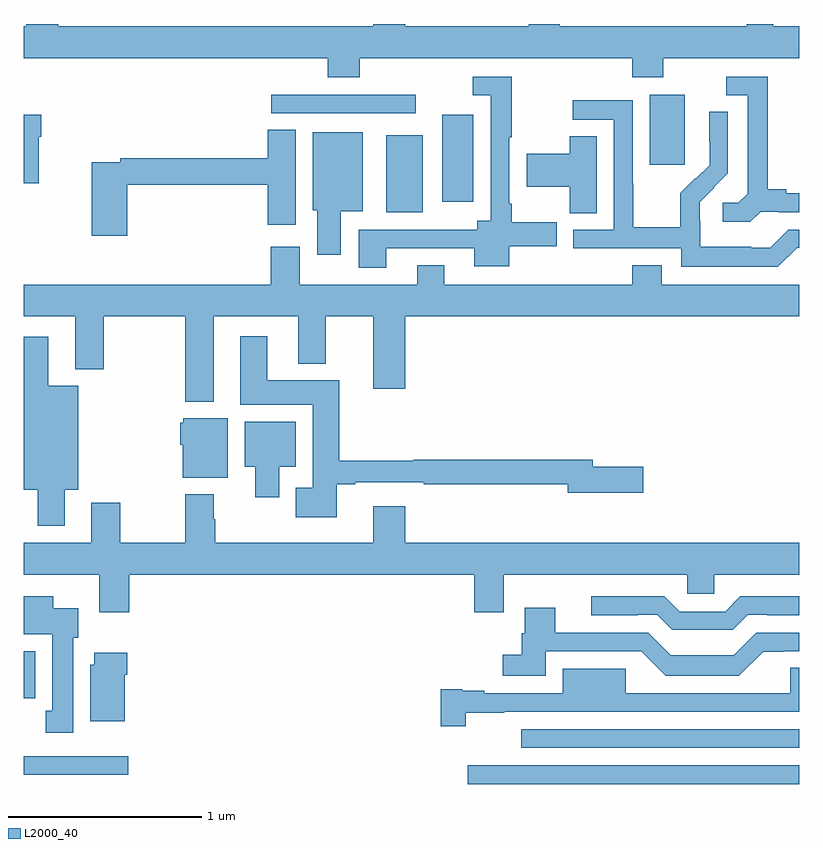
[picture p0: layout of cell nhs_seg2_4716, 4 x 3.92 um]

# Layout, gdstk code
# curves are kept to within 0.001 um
import gdstk
lib = gdstk.Library(unit=1e-6, precision=1e-09)
def R(c, l, rs):  # rectangles x0, y0, x1, y1
    for r in rs: c.add(gdstk.rectangle(r[:2], r[2:], *l))
def P(c, l, *ps):  # polygons
    for p in ps: c.add(gdstk.Polygon(p, *l))
L2000_40 = (2000, 40)

nhs_seg2_4716 = lib.new_cell('nhs_seg2_4716')
R(nhs_seg2_4716, L2000_40, [(369.291,655.881,371,655.977), (367,655.928,367.54,656.025), (369.567,656.067,371,656.163), (367,656.324,367.06,656.566), (368.87,658.829,369.058,659.227), (369.158,658.884,369.319,659.332), (370.229,659.073,370.408,659.434), (368.277,659.34,369.022,659.436)])
P(nhs_seg2_4716, L2000_40, [(368.732,659.624),(370.139,659.624),(370.139,659.525),(370.299,659.525),(370.299,659.624),(371,659.624),(371,659.788),(370.866,659.788),(370.866,659.8),(370.728,659.8),(370.728,659.788),(369.765,659.788),(369.765,659.8),(369.605,659.8),(369.605,659.788),(368.968,659.788),(368.968,659.8),(368.804,659.8),(368.804,659.788),(367.178,659.788),(367.178,659.8),(367.013,659.8),(367.013,659.788),(367,659.788),(367,659.624),(368.567,659.624),(368.567,659.525),(368.732,659.525)],
  [(368.869,658.644),(369.323,658.644),(369.323,658.55),(369.505,658.55),(369.505,658.655),(369.75,658.655),(369.75,658.777),(369.517,658.777),(369.517,658.873),(369.504,658.873),(369.504,659.215),(369.517,659.215),(369.517,659.529),(369.315,659.529),(369.315,659.433),(369.408,659.433),(369.408,658.786),(369.338,658.786),(369.338,658.74),(368.729,658.74),(368.729,658.542),(368.869,658.542)],
  [(370.8,658.833),(370.894,658.833),(370.894,658.83),(371,658.83),(371,658.926),(370.933,658.926),(370.933,658.949),(370.837,658.949),(370.837,659.529),(370.623,659.529),(370.623,659.433),(370.733,659.433),(370.733,658.925),(370.686,658.878),(370.605,658.878),(370.605,658.781),(370.748,658.781)],
  [(370.989,658.647),(371,658.647),(371,658.74),(370.944,658.74),(370.851,658.647),(370.751,658.647),(370.751,658.651),(370.488,658.651),(370.488,658.785),(370.486,658.785),(370.486,658.882),(370.632,659.03),(370.632,659.348),(370.536,659.348),(370.536,659.194),(370.538,659.194),(370.538,659.072),(370.467,659.001),(370.464,659.004),(370.387,658.927),(370.387,658.753),(370.143,658.753),(370.143,658.976),(370.14,658.976),(370.14,659.406),(369.831,659.406),(369.831,659.307),(370.044,659.307),(370.044,658.74),(369.835,658.74),(369.835,658.644),(370.392,658.644),(370.392,658.547),(370.889,658.547)],
  [(367.078,659.219),(367.091,659.219),(367.091,659.332),(367,659.332),(367,658.979),(367.078,658.979)],
  [(367.535,658.972),(368.258,658.972),(368.258,658.764),(368.404,658.764),(368.404,659.255),(368.258,659.255),(368.258,659.108),(367.498,659.108),(367.498,659.088),(367.352,659.088),(367.352,658.707),(367.535,658.707)],
  [(368.635,658.835),(368.749,658.835),(368.749,659.242),(368.492,659.242),(368.492,658.839),(368.513,658.839),(368.513,658.611),(368.635,658.611)],
  [(369.955,659.222),(369.817,659.222),(369.817,659.132),(369.594,659.132),(369.594,658.961),(369.817,658.961),(369.817,658.825),(369.955,658.825)],
  [(367.981,658.292),(368.417,658.292),(368.417,658.049),(368.557,658.049),(368.557,658.292),(368.804,658.292),(368.804,657.918),(368.968,657.918),(368.968,658.292),(371,658.292),(371,658.456),(370.291,658.456),(370.291,658.555),(370.139,658.555),(370.139,658.456),(369.169,658.456),(369.169,658.555),(369.029,658.555),(369.029,658.456),(368.425,658.456),(368.425,658.651),(368.273,658.651),(368.273,658.456),(367,658.456),(367,658.292),(367.265,658.292),(367.265,658.019),(367.413,658.019),(367.413,658.292),(367.834,658.292),(367.834,657.851),(367.981,657.851)],
  [(368.614,657.426),(368.71,657.426),(368.71,657.438),(369.064,657.438),(369.064,657.426),(369.806,657.426),(369.806,657.383),(370.195,657.383),(370.195,657.518),(369.934,657.518),(369.934,657.554),(369.01,657.554),(369.01,657.547),(368.627,657.547),(368.627,657.964),(368.257,657.964),(368.257,658.189),(368.117,658.189),(368.117,657.836),(368.492,657.836),(368.492,657.409),(368.402,657.409),(368.402,657.257),(368.614,657.257)],
  [(367.213,657.398),(367.282,657.398),(367.282,657.934),(367.126,657.934),(367.126,658.186),(367,658.186),(367,657.398),(367.073,657.398),(367.073,657.213),(367.213,657.213)],
  [(368.053,657.766),(367.824,657.766),(367.824,657.744),(367.808,657.744),(367.808,657.63),(367.82,657.63),(367.82,657.461),(368.053,657.461)],
  [(368.317,657.518),(368.404,657.518),(368.404,657.748),(368.141,657.748),(368.141,657.518),(368.195,657.518),(368.195,657.36),(368.317,657.36)],
  [(367.544,656.96),(369.323,656.96),(369.323,656.766),(369.475,656.766),(369.475,656.96),(370.422,656.96),(370.422,656.862),(370.56,656.862),(370.56,656.96),(371,656.96),(371,657.124),(368.968,657.124),(368.968,657.313),(368.804,657.313),(368.804,657.124),(367.989,657.124),(367.989,657.245),(367.981,657.245),(367.981,657.376),(367.834,657.376),(367.834,657.124),(367.497,657.124),(367.497,657.331),(367.349,657.331),(367.349,657.124),(367,657.124),(367,656.96),(367.391,656.96),(367.391,656.766),(367.544,656.766)],
  [(370.734,656.754),(370.834,656.754),(370.834,656.751),(371,656.751),(371,656.848),(370.696,656.848),(370.617,656.769),(370.383,656.769),(370.304,656.848),(369.927,656.848),(369.927,656.751),(370.166,656.751),(370.166,656.754),(370.266,656.754),(370.344,656.676),(370.656,656.676)],
  [(367.255,656.634),(367.282,656.634),(367.282,656.788),(367.153,656.788),(367.153,656.848),(367,656.848),(367,656.654),(367.148,656.654),(367.148,656.258),(367.115,656.258),(367.115,656.145),(367.255,656.145)],
  [(369.691,656.565),(370.185,656.565),(370.312,656.438),(370.688,656.438),(370.814,656.564),(371,656.565),(371,656.661),(370.779,656.661),(370.662,656.544),(370.338,656.544),(370.221,656.661),(369.742,656.661),(369.742,656.791),(369.584,656.791),(369.584,656.658),(369.569,656.658),(369.569,656.548),(369.471,656.548),(369.471,656.438),(369.691,656.438)],
  [(367.522,656.444),(367.535,656.444),(367.535,656.557),(367.364,656.557),(367.364,656.496),(367.343,656.496),(367.343,656.204),(367.522,656.204)],
  [(369.28,656.248),(369.479,656.248),(369.479,656.253),(371,656.253),(371,656.48),(370.952,656.48),(370.952,656.349),(370.105,656.349),(370.105,656.476),(369.779,656.476),(369.779,656.349),(369.376,656.349),(369.376,656.362),(369.262,656.362),(369.262,656.369),(369.15,656.369),(369.15,656.178),(369.28,656.178)])

lib.write_gds('nhs_seg2_4716.gds')
